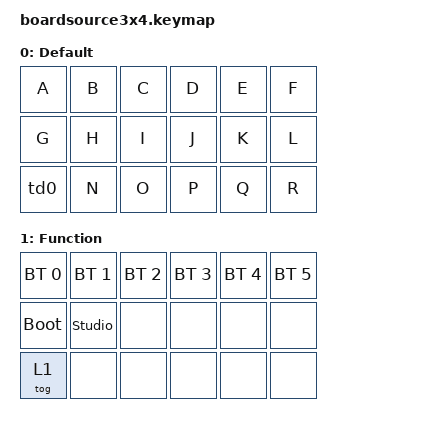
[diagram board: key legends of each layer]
/*
 * Copyright (c) 2020 The ZMK Contributors
 *
 * SPDX-License-Identifier: MIT
 */

#include <behaviors.dtsi>
#include <dt-bindings/zmk/keys.h>
#include <dt-bindings/zmk/bt.h>

/ {
    keymap {
        compatible = "zmk,keymap";

        default_layer {
            display-name = "Default";
            // |  A  |  B |  C  |  D  |  E   |  F  |                        
            // |  G  |  H |  I  |  J  |  K   |  L  |                        
            // |  TAP  |  N  |  O  |  P   |  Q   |  R  |

            bindings = <
                &kp A &kp B &kp C &kp D &kp E &kp F
                &kp G &kp H &kp I &kp J &kp K &kp L
                &td0  &kp N &kp O &kp P &kp Q &kp R
            >;
        };

        function_layer {
            display-name = "Function";

            bindings =<
                &bt BT_SEL 0 &bt BT_SEL 1   &bt BT_SEL 2 &bt BT_SEL 3 &bt BT_SEL 4 &bt BT_SEL 5
                &bootloader  &studio_unlock &none        &none        &none        &none
                &tog 1       &none          &none        &none        &none        &none
            >;
        };
    };
};
